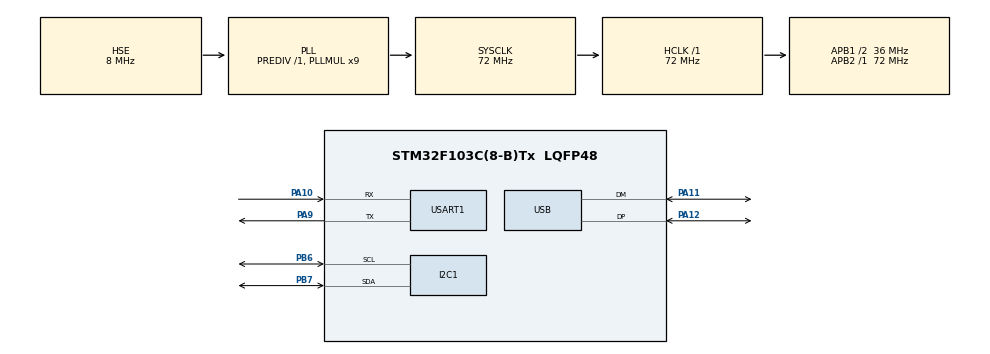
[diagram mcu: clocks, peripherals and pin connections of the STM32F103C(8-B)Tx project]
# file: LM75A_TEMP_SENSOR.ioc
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Mcu.Family=STM32F1
Mcu.Name=STM32F103C(8-B)Tx
Mcu.Package=LQFP48
NVIC.PriorityGroup=NVIC_PRIORITYGROUP_4
NVIC.USB_LP_CAN1_RX0_IRQn=true\:0\:0\:false\:false\:true\:false\:true\:true
PA10.Mode=Asynchronous
PA10.Signal=USART1_RX
PA11.Mode=Device
PA11.Signal=USB_DM
PA12.Mode=Device
PA12.Signal=USB_DP
PA13.Mode=Serial_Wire
PA13.Signal=SYS_JTMS-SWDIO
PA14.Mode=Serial_Wire
PA14.Signal=SYS_JTCK-SWCLK
PA9.Mode=Asynchronous
PA9.Signal=USART1_TX
PB6.Mode=I2C
PB6.Signal=I2C1_SCL
PB7.Mode=I2C
PB7.Signal=I2C1_SDA
PD0-OSC_IN.Mode=HSE-External-Oscillator
PD0-OSC_IN.Signal=RCC_OSC_IN
PD1-OSC_OUT.Mode=HSE-External-Oscillator
PD1-OSC_OUT.Signal=RCC_OSC_OUT
ProjectManager.HeapSize=0x200
ProjectManager.StackSize=0x400
ProjectManager.TargetToolchain=STM32CubeIDE
RCC.AHBFreq_Value=72000000
RCC.APB1CLKDivider=RCC_HCLK_DIV2
RCC.APB1Freq_Value=36000000
RCC.APB1TimFreq_Value=72000000
RCC.APB2Freq_Value=72000000
RCC.APB2TimFreq_Value=72000000
RCC.HCLKFreq_Value=72000000
RCC.PLLMUL=RCC_PLL_MUL9
RCC.SYSCLKFreq_VALUE=72000000
RCC.SYSCLKSource=RCC_SYSCLKSOURCE_PLLCLK
RCC.USBFreq_Value=48000000
RCC.USBPrescaler=RCC_USBCLKSOURCE_PLL_DIV1_5
USART1.VirtualMode=VM_ASYNC
USB_DEVICE.CLASS_NAME_FS=CDC
USB_DEVICE.VirtualMode=Cdc
USB_DEVICE.VirtualModeFS=Cdc_FS
VP_USB_DEVICE_VS_USB_DEVICE_CDC_FS.Mode=CDC_FS
board=custom

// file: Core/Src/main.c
/* USER CODE BEGIN Header */
/**
  ******************************************************************************
  * @file           : main.c
  * @brief          : Main program body
  ******************************************************************************
  * @attention
  *
  * Copyright (c) 2024 STMicroelectronics.
  * All rights reserved.
  *
  * This software is licensed under terms that can be found in the LICENSE file
  * in the root directory of this software component.
  * If no LICENSE file comes with this software, it is provided AS-IS.
  *
  ******************************************************************************
  */
/* USER CODE END Header */
#include "main.h"
#include "i2c.h"
#include "usart.h"
#include "usb_device.h"
#include "gpio.h"

/* USER CODE BEGIN Includes */
#include <string.h>
#include "usbd_cdc_if.h"
/* USER CODE END Includes */

/* USER CODE BEGIN PD */
#define LM75A_ADDRESS 0x48 << 1
#define LM75A_TEMP_REGISTER 0x00
/* USER CODE END PD */

void SystemClock_Config(void);
/* USER CODE BEGIN PFP */
float LM75AReadTemperature(I2C_HandleTypeDef *hi2c1)
{
	uint8_t temp_data[2];
	HAL_I2C_Mem_Read(hi2c1, LM75A_ADDRESS, LM75A_TEMP_REGISTER, I2C_MEMADD_SIZE_8BIT, temp_data, 2, HAL_MAX_DELAY);

	int16_t temp_raw = (temp_data[0] << 8) | temp_data[1];
	temp_raw >>= 5;

	float temperature = temp_raw * 0.125;

	return temperature;
}

void SendTemperatureOverUsb(float temperature)
{
	char buffer[50];
	int len = sprintf(buffer,"Temperature: %.2f °C\r\n", temperature);
	CDC_Transmit_FS((uint8_t*)buffer, len);
}
/* USER CODE END PFP */

int main(void)
{

  /* MCU Configuration--------------------------------------------------------*/

  /* Reset of all peripherals, Initializes the Flash interface and the Systick. */
  HAL_Init();

  /* Configure the system clock */
  SystemClock_Config();

  /* Initialize all configured peripherals */
  MX_GPIO_Init();
  MX_I2C1_Init();
  MX_USART1_UART_Init();
  MX_USB_DEVICE_Init();

  /* Infinite loop */
  /* USER CODE BEGIN WHILE */
  while (1)
  {
	  float temperature = LM75AReadTemperature(&hi2c1);
	  SendTemperatureOverUsb(temperature);
	  HAL_Delay(1000);
    /* USER CODE END WHILE */

  }
}

void SystemClock_Config(void)
{
  RCC_OscInitTypeDef RCC_OscInitStruct = {0};
  RCC_ClkInitTypeDef RCC_ClkInitStruct = {0};
  RCC_PeriphCLKInitTypeDef PeriphClkInit = {0};

  /** Initializes the RCC Oscillators according to the specified parameters
  * in the RCC_OscInitTypeDef structure.
  */
  RCC_OscInitStruct.OscillatorType = RCC_OSCILLATORTYPE_HSE;
  RCC_OscInitStruct.HSEState = RCC_HSE_ON;
  RCC_OscInitStruct.HSEPredivValue = RCC_HSE_PREDIV_DIV1;
  RCC_OscInitStruct.HSIState = RCC_HSI_ON;
  RCC_OscInitStruct.PLL.PLLState = RCC_PLL_ON;
  RCC_OscInitStruct.PLL.PLLSource = RCC_PLLSOURCE_HSE;
  RCC_OscInitStruct.PLL.PLLMUL = RCC_PLL_MUL9;
  if (HAL_RCC_OscConfig(&RCC_OscInitStruct) != HAL_OK)
  {
    Error_Handler();
  }

  /** Initializes the CPU, AHB and APB buses clocks
  */
  RCC_ClkInitStruct.ClockType = RCC_CLOCKTYPE_HCLK|RCC_CLOCKTYPE_SYSCLK
                              |RCC_CLOCKTYPE_PCLK1|RCC_CLOCKTYPE_PCLK2;
  RCC_ClkInitStruct.SYSCLKSource = RCC_SYSCLKSOURCE_PLLCLK;
  RCC_ClkInitStruct.AHBCLKDivider = RCC_SYSCLK_DIV1;
  RCC_ClkInitStruct.APB1CLKDivider = RCC_HCLK_DIV2;
  RCC_ClkInitStruct.APB2CLKDivider = RCC_HCLK_DIV1;

  if (HAL_RCC_ClockConfig(&RCC_ClkInitStruct, FLASH_LATENCY_2) != HAL_OK)
  {
    Error_Handler();
  }
  PeriphClkInit.PeriphClockSelection = RCC_PERIPHCLK_USB;
  PeriphClkInit.UsbClockSelection = RCC_USBCLKSOURCE_PLL_DIV1_5;
  if (HAL_RCCEx_PeriphCLKConfig(&PeriphClkInit) != HAL_OK)
  {
    Error_Handler();
  }
}

void Error_Handler(void)
{
  __disable_irq();
  while (1)
  {
  }
}
